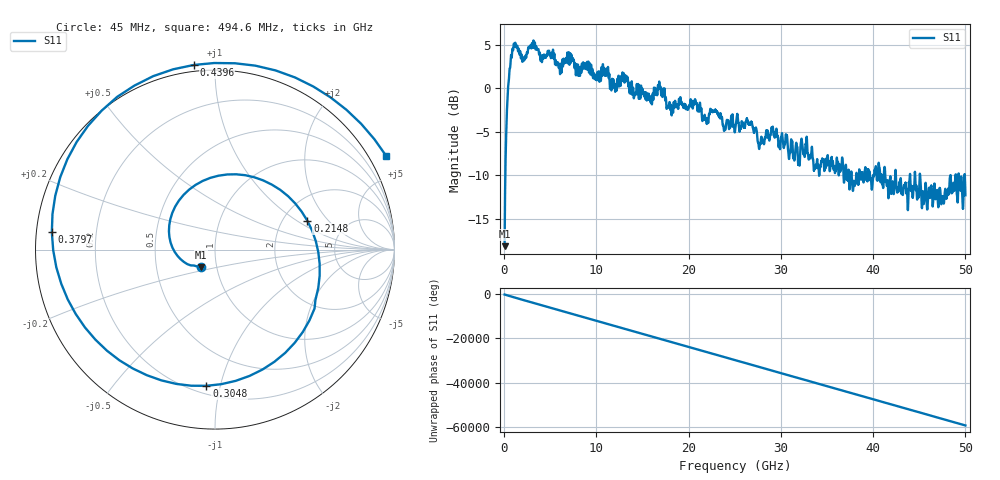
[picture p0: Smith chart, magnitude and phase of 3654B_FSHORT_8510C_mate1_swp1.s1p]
!Created with skrf (http://scikit-rf.org).
# Hz S RI R 50.0
!freq ReS11 ImS11
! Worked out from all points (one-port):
!   10001 points, 45 MHz to 50 GHz, reference 50 ohm
!   lowest |S11| = -18.1 dB at 45 MHz (marker M1), VSWR 1.28, Z = 42.1 - j8.32 ohm
!   |S11| at or under -10 dB: 41.31 GHz to 42.39 GHz (1.074 GHz wide, 2.57 % of centre); 42.47 GHz to 43.98 GHz (1.513 GHz wide, 3.5 % of centre); 45.1 GHz to 48.37 GHz (3.278 GHz wide, 7.01 % of centre) (the widest 3 of 27)
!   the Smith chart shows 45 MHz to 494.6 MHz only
!   S11 on the Smith chart (normalised r, x): 45 MHz: 0.84, -0.17; 214.8 MHz: 2.71, +1.23; 304.8 MHz: 0.25, -0.91; 379.7 MHz: 0.04, +0.05; 439.6 MHz: -0.03, +0.89; 494.6 MHz: -0.66, +3.79
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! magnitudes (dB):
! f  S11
! 45 MHz  -18.1
! 214.8 MHz  -5.4
! 304.8 MHz  -2.4
! 379.7 MHz  -0.8
! 439.6 MHz  0.3
! 494.6 MHz  0.7
! 814.3 MHz  3.5
! 1.214 GHz  5.2
! 2.028 GHz  3.3
! 3.107 GHz  4.7
! 6.289 GHz  3.3
! 7.209 GHz  3.0
! 7.988 GHz  2.7
! 12.53 GHz  1.2
! 15.81 GHz  -0.9
! 16.87 GHz  0.0
! 17.8 GHz  -2.1
! 18.78 GHz  -1.9
! 25.02 GHz  -4.9
! 26.64 GHz  -4.2
! 27.7 GHz  -6.6
! 29.29 GHz  -5.6
! 31.27 GHz  -6.7
! 32.71 GHz  -6.4
! 37.51 GHz  -10.5
! 40.48 GHz  -10.6
! 43.76 GHz  -13.9
! 50 GHz  -12.3
